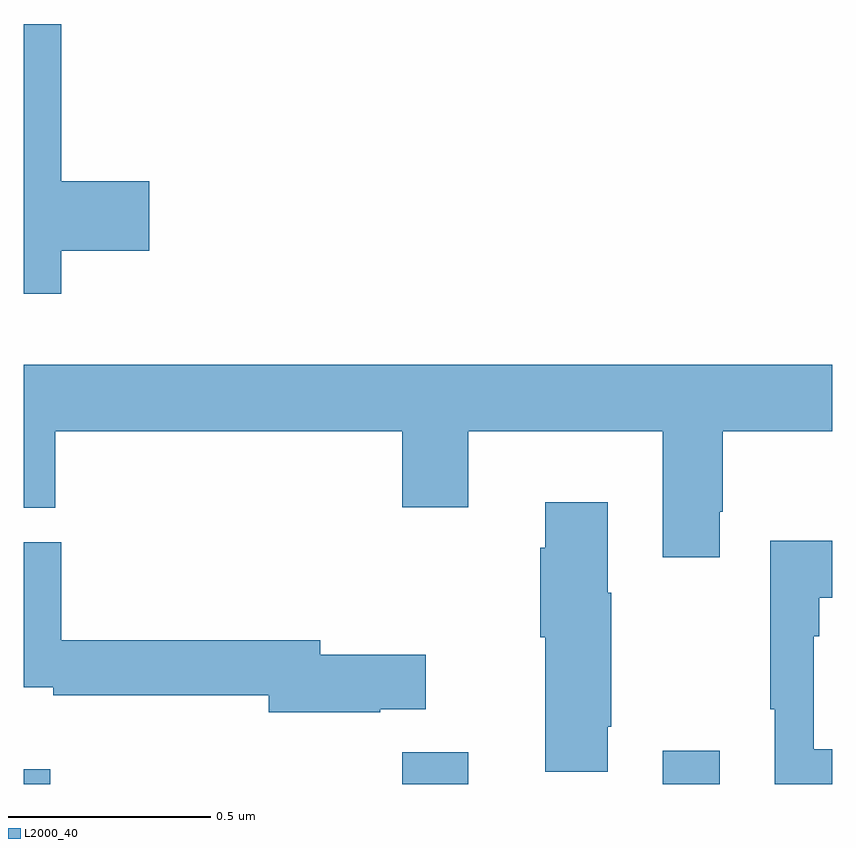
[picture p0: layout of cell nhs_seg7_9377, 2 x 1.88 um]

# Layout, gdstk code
import gdstk
lib = gdstk.Library(unit=1e-6, precision=1e-09)
def R(c, l, rs):  # rectangles x0, y0, x1, y1
    for r in rs: c.add(gdstk.rectangle(r[:2], r[2:], *l))
def P(c, l, *ps):  # polygons
    for p in ps: c.add(gdstk.Polygon(p, *l))
L2000_40 = (2000, 40)

nhs_seg7_9377 = lib.new_cell('nhs_seg7_9377')
R(nhs_seg7_9377, L2000_40, [(236,1077,236.066,1077.037), (236.936,1077,237.1,1077.079), (237.581,1077,237.721,1077.082)])
P(nhs_seg7_9377, L2000_40, [(236.093,1078.319),(236.311,1078.319),(236.311,1078.49),(236.093,1078.49),(236.093,1078.879),(236,1078.879),(236,1078.212),(236.093,1078.212)],
  [(236,1077.683),(236.078,1077.683),(236.078,1077.872),(236.936,1077.872),(236.936,1077.684),(237.1,1077.684),(237.1,1077.872),(237.581,1077.872),(237.581,1077.561),(237.721,1077.561),(237.721,1077.673),(237.729,1077.673),(237.729,1077.872),(238,1077.872),(238,1078.036),(236,1078.036)],
  [(237.445,1077.142),(237.453,1077.142),(237.453,1077.473),(237.445,1077.473),(237.445,1077.697),(237.29,1077.697),(237.29,1077.584),(237.278,1077.584),(237.278,1077.363),(237.29,1077.363),(237.29,1077.03),(237.445,1077.03)],
  [(238,1077.086),(237.954,1077.086),(237.954,1077.365),(237.967,1077.365),(237.967,1077.461),(238,1077.461),(238,1077.601),(237.846,1077.601),(237.846,1077.185),(237.857,1077.185),(237.857,1077),(238,1077)],
  [(236.882,1077.185),(236.995,1077.185),(236.995,1077.32),(236.734,1077.32),(236.734,1077.356),(236.093,1077.356),(236.093,1077.598),(236,1077.598),(236,1077.239),(236.074,1077.239),(236.074,1077.22),(236.606,1077.22),(236.606,1077.178),(236.882,1077.178)])

lib.write_gds('nhs_seg7_9377.gds')
